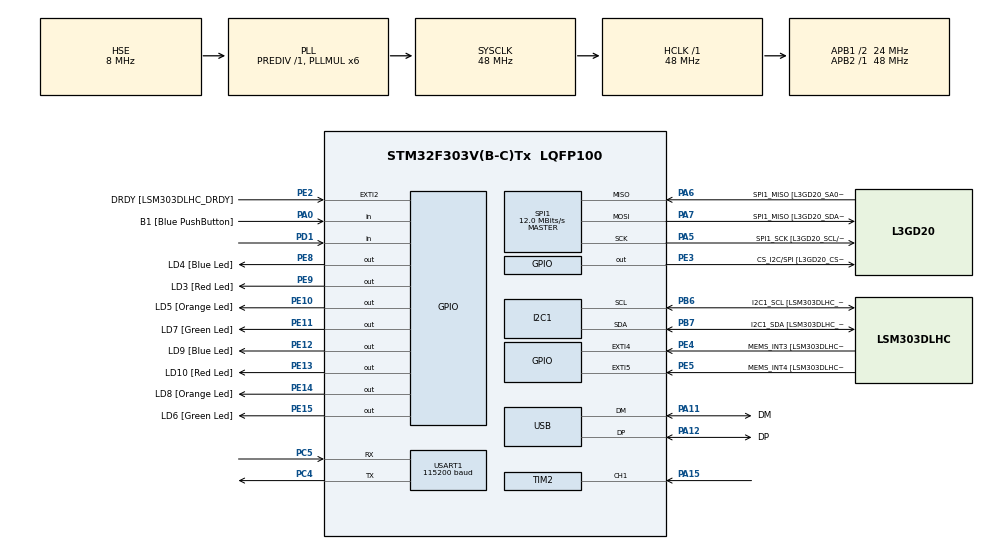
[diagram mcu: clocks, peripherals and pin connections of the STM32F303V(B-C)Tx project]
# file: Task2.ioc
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I2C1.Timing=0x00201D2B
I2C1.Timing-I2C=0x2000090E
Mcu.Family=STM32F3
Mcu.Name=STM32F303V(B-C)Tx
Mcu.Package=LQFP100
NVIC.PriorityGroup=NVIC_PRIORITYGROUP_0
NVIC.TIM2_IRQn=true\:0\:0\:false\:false\:true\:true\:true\:true
PA0.GPIO_Label=B1 [Blue PushButton]
PA0.Signal=GPIO_Input
PA11.GPIO_Label=DM
PA11.Mode=Device
PA11.Signal=USB_DM
PA12.GPIO_Label=DP
PA12.Mode=Device
PA12.Signal=USB_DP
PA13.GPIO_Label=SWDIO
PA13.Mode=Serial_Wire
PA13.Signal=SYS_JTMS-SWDIO
PA14.GPIO_Label=SWCLK
PA14.Mode=Serial_Wire
PA14.Signal=SYS_JTCK-SWCLK
PA15.Signal=S_TIM2_CH1_ETR
PA5.GPIO_Label=SPI1_SCK [L3GD20_SCL/SPC]
PA5.Mode=Full_Duplex_Master
PA5.Signal=SPI1_SCK
PA6.GPIO_Label=SPI1_MISO [L3GD20_SA0/SDO]
PA6.Mode=Full_Duplex_Master
PA6.Signal=SPI1_MISO
PA7.GPIO_Label=SPI1_MISO [L3GD20_SDA/SDI/SDO]
PA7.Mode=Full_Duplex_Master
PA7.Signal=SPI1_MOSI
PB3.GPIO_Label=SWO
PB3.Signal=SYS_JTDO-TRACESWO
PB6.GPIO_Label=I2C1_SCL [LSM303DLHC_SCL]
PB6.GPIO_Pu=GPIO_PULLUP
PB6.Mode=I2C
PB6.Signal=I2C1_SCL
PB7.GPIO_Label=I2C1_SDA [LSM303DLHC_SDA]
PB7.GPIO_Pu=GPIO_PULLUP
PB7.Mode=I2C
PB7.Signal=I2C1_SDA
PC14-OSC32_IN.GPIO_Label=OSC32_IN
PC14-OSC32_IN.Signal=RCC_OSC32_IN
PC15-OSC32_OUT.GPIO_Label=OSC32_OUT
PC15-OSC32_OUT.Signal=RCC_OSC32_OUT
PC4.Mode=Asynchronous
PC4.Signal=USART1_TX
PC5.Mode=Asynchronous
PC5.Signal=USART1_RX
PD1.Signal=GPIO_Input
PE10.GPIO_Label=LD5 [Orange Led]
PE10.Signal=GPIO_Output
PE11.GPIO_Label=LD7 [Green Led]
PE11.Signal=GPIO_Output
PE12.GPIO_Label=LD9 [Blue Led]
PE12.Signal=GPIO_Output
PE13.GPIO_Label=LD10 [Red Led]
PE13.Signal=GPIO_Output
PE14.GPIO_Label=LD8 [Orange Led]
PE14.Signal=GPIO_Output
PE15.GPIO_Label=LD6 [Green Led]
PE15.Signal=GPIO_Output
PE2.GPIO_Label=DRDY [LSM303DLHC_DRDY]
PE2.GPIO_ModeDefaultEXTI=GPIO_MODE_EVT_RISING
PE2.Signal=GPXTI2
PE3.GPIO_Label=CS_I2C/SPI [L3GD20_CS_I2C/SPI]
PE3.Signal=GPIO_Output
PE4.GPIO_Label=MEMS_INT3 [LSM303DLHC_INT1]
PE4.GPIO_ModeDefaultEXTI=GPIO_MODE_EVT_RISING
PE4.Signal=GPXTI4
PE5.GPIO_Label=MEMS_INT4 [LSM303DLHC_INT2]
PE5.GPIO_ModeDefaultEXTI=GPIO_MODE_EVT_RISING
PE5.Signal=GPXTI5
PE8.GPIO_Label=LD4 [Blue Led]
PE8.Signal=GPIO_Output
PE9.GPIO_Label=LD3 [Red Led]
PE9.Signal=GPIO_Output
PF0-OSC_IN.GPIO_Label=OSC_IN
PF0-OSC_IN.Mode=HSE-External-Clock-Source
PF0-OSC_IN.Signal=RCC_OSC_IN
PF1-OSC_OUT.GPIO_Label=OSC_OUT
PF1-OSC_OUT.Signal=RCC_OSC_OUT
ProjectManager.HeapSize=0x200
ProjectManager.StackSize=0x400
ProjectManager.TargetToolchain=CMake
RCC.AHBFreq_Value=48000000
RCC.APB1CLKDivider=RCC_HCLK_DIV2
RCC.APB1Freq_Value=24000000
RCC.APB1TimFreq_Value=48000000
RCC.APB2Freq_Value=48000000
RCC.APB2TimFreq_Value=48000000
RCC.CortexFreq_Value=48000000
RCC.HCLKFreq_Value=48000000
RCC.HSE_VALUE=8000000
RCC.HSI_VALUE=8000000
RCC.LSE_VALUE=32768
RCC.PLLMUL=RCC_PLL_MUL6
RCC.SYSCLKFreq_VALUE=48000000
RCC.SYSCLKSourceVirtual=RCC_SYSCLKSOURCE_PLLCLK
RCC.USBFreq_Value=48000000
SH.S_TIM2_CH1_ETR.0=TIM2_CH1,Input_Capture1_from_TI1
SPI1.BaudRatePrescaler=SPI_BAUDRATEPRESCALER_4
SPI1.BaudRatePrescaler-Full_Duplex_Master=SPI_BAUDRATEPRESCALER_2
SPI1.CalculateBaudRate=12.0 MBits/s
SPI1.CalculateBaudRate-Full_Duplex_Master=24.0 MBits/s
SPI1.Direction=SPI_DIRECTION_2LINES
SPI1.Mode=SPI_MODE_MASTER
SPI1.Mode-Full_Duplex_Master=SPI_MODE_MASTER
SPI1.VirtualType=VM_MASTER
TIM2.Channel-Input_Capture1_from_TI1=TIM_CHANNEL_1
TIM2.Prescaler=9
USART1.BaudRate=115200
USART1.VirtualMode-Asynchronous=VM_ASYNC
VP_TIM2_VS_ClockSourceINT.Mode=Internal
board=STM32F3DISCOVERY

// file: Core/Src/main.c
/* USER CODE BEGIN Header */
/**
  ******************************************************************************
  * @file           : main.c
  * @brief          : Main program body
  ******************************************************************************
  * @attention
  *
  * Copyright (c) 2026 STMicroelectronics.
  * All rights reserved.
  *
  * This software is licensed under terms that can be found in the LICENSE file
  * in the root directory of this software component.
  * If no LICENSE file comes with this software, it is provided AS-IS.
  *
  ******************************************************************************
  */
/* USER CODE END Header */
#include "main.h"
#include <stdio.h>
#include <string.h>
#include <stdint.h>

I2C_HandleTypeDef hi2c1;

SPI_HandleTypeDef hspi1;

TIM_HandleTypeDef htim2;

UART_HandleTypeDef huart1;

PCD_HandleTypeDef hpcd_USB_FS;
float frequency = 0;
/* USER CODE BEGIN PV */
int __io_putchar(int ch)
{
    HAL_UART_Transmit(&huart1, (uint8_t *)&ch, 1, HAL_MAX_DELAY);
    return ch;
}
/* USER CODE END PV */

void SystemClock_Config(void);
static void MX_GPIO_Init(void);
static void MX_I2C1_Init(void);
static void MX_SPI1_Init(void);
static void MX_TIM2_Init(void);
static void MX_USART1_UART_Init(void);
static void MX_USB_PCD_Init(void);
/* USER CODE BEGIN PFP */
uint32_t ic_val1 = 0;
uint32_t ic_val2 = 0;
uint32_t diff = 0;
uint8_t is_first = 0;

void HAL_TIM_IC_CaptureCallback(TIM_HandleTypeDef *htim)
{
    if (htim->Channel == HAL_TIM_ACTIVE_CHANNEL_1)
    {
        if (is_first == 0)
        {
            ic_val1 = HAL_TIM_ReadCapturedValue(htim, TIM_CHANNEL_1);
            is_first = 1;
        }
        else
        {
            ic_val2 = HAL_TIM_ReadCapturedValue(htim, TIM_CHANNEL_1);

            if (ic_val2 > ic_val1)
                diff = ic_val2 - ic_val1;
            else
                diff = (0xFFFFFFFF - ic_val1) + ic_val2;

            frequency = 666666.67 / diff;

            is_first = 0;
        }
    }
}
/* USER CODE END PFP */

int main(void)
{

  /* MCU Configuration--------------------------------------------------------*/

  /* Reset of all peripherals, Initializes the Flash interface and the Systick. */
  HAL_Init();

  /* Configure the system clock */
  SystemClock_Config();

  /* Initialize all configured peripherals */
  MX_GPIO_Init();
  MX_I2C1_Init();
  MX_SPI1_Init();
  MX_TIM2_Init();
  MX_USART1_UART_Init();
  MX_USB_PCD_Init();
  /* USER CODE BEGIN 2 */
  HAL_TIM_IC_Start_IT(&htim2, TIM_CHANNEL_1);
  /* USER CODE END 2 */

  /* Infinite loop */
  while (1)
  {
    printf("Frequency: %.2f Hz\r\n", frequency);
    HAL_Delay(500);
  }
}

void SystemClock_Config(void)
{
  RCC_OscInitTypeDef RCC_OscInitStruct = {0};
  RCC_ClkInitTypeDef RCC_ClkInitStruct = {0};
  RCC_PeriphCLKInitTypeDef PeriphClkInit = {0};

  /** Initializes the RCC Oscillators according to the specified parameters
  * in the RCC_OscInitTypeDef structure.
  */
  RCC_OscInitStruct.OscillatorType = RCC_OSCILLATORTYPE_HSI|RCC_OSCILLATORTYPE_HSE;
  RCC_OscInitStruct.HSEState = RCC_HSE_BYPASS;
  RCC_OscInitStruct.HSEPredivValue = RCC_HSE_PREDIV_DIV1;
  RCC_OscInitStruct.HSIState = RCC_HSI_ON;
  RCC_OscInitStruct.HSICalibrationValue = RCC_HSICALIBRATION_DEFAULT;
  RCC_OscInitStruct.PLL.PLLState = RCC_PLL_ON;
  RCC_OscInitStruct.PLL.PLLSource = RCC_PLLSOURCE_HSE;
  RCC_OscInitStruct.PLL.PLLMUL = RCC_PLL_MUL6;
  if (HAL_RCC_OscConfig(&RCC_OscInitStruct) != HAL_OK)
  {
    Error_Handler();
  }

  /** Initializes the CPU, AHB and APB buses clocks
  */
  RCC_ClkInitStruct.ClockType = RCC_CLOCKTYPE_HCLK|RCC_CLOCKTYPE_SYSCLK
                              |RCC_CLOCKTYPE_PCLK1|RCC_CLOCKTYPE_PCLK2;
  RCC_ClkInitStruct.SYSCLKSource = RCC_SYSCLKSOURCE_PLLCLK;
  RCC_ClkInitStruct.AHBCLKDivider = RCC_SYSCLK_DIV1;
  RCC_ClkInitStruct.APB1CLKDivider = RCC_HCLK_DIV2;
  RCC_ClkInitStruct.APB2CLKDivider = RCC_HCLK_DIV1;

  if (HAL_RCC_ClockConfig(&RCC_ClkInitStruct, FLASH_LATENCY_1) != HAL_OK)
  {
    Error_Handler();
  }
  PeriphClkInit.PeriphClockSelection = RCC_PERIPHCLK_USB|RCC_PERIPHCLK_USART1
                              |RCC_PERIPHCLK_I2C1;
  PeriphClkInit.Usart1ClockSelection = RCC_USART1CLKSOURCE_PCLK2;
  PeriphClkInit.I2c1ClockSelection = RCC_I2C1CLKSOURCE_HSI;
  PeriphClkInit.USBClockSelection = RCC_USBCLKSOURCE_PLL;
  if (HAL_RCCEx_PeriphCLKConfig(&PeriphClkInit) != HAL_OK)
  {
    Error_Handler();
  }
}

static void MX_I2C1_Init(void)
{

  hi2c1.Instance = I2C1;
  hi2c1.Init.Timing = 0x00201D2B;
  hi2c1.Init.OwnAddress1 = 0;
  hi2c1.Init.AddressingMode = I2C_ADDRESSINGMODE_7BIT;
  hi2c1.Init.DualAddressMode = I2C_DUALADDRESS_DISABLE;
  hi2c1.Init.OwnAddress2 = 0;
  hi2c1.Init.OwnAddress2Masks = I2C_OA2_NOMASK;
  hi2c1.Init.GeneralCallMode = I2C_GENERALCALL_DISABLE;
  hi2c1.Init.NoStretchMode = I2C_NOSTRETCH_DISABLE;
  if (HAL_I2C_Init(&hi2c1) != HAL_OK)
  {
    Error_Handler();
  }

  /** Configure Analogue filter
  */
  if (HAL_I2CEx_ConfigAnalogFilter(&hi2c1, I2C_ANALOGFILTER_ENABLE) != HAL_OK)
  {
    Error_Handler();
  }

  /** Configure Digital filter
  */
  if (HAL_I2CEx_ConfigDigitalFilter(&hi2c1, 0) != HAL_OK)
  {
    Error_Handler();
  }

}

static void MX_SPI1_Init(void)
{

  /* SPI1 parameter configuration*/
  hspi1.Instance = SPI1;
  hspi1.Init.Mode = SPI_MODE_MASTER;
  hspi1.Init.Direction = SPI_DIRECTION_2LINES;
  hspi1.Init.DataSize = SPI_DATASIZE_4BIT;
  hspi1.Init.CLKPolarity = SPI_POLARITY_LOW;
  hspi1.Init.CLKPhase = SPI_PHASE_1EDGE;
  hspi1.Init.NSS = SPI_NSS_SOFT;
  hspi1.Init.BaudRatePrescaler = SPI_BAUDRATEPRESCALER_4;
  hspi1.Init.FirstBit = SPI_FIRSTBIT_MSB;
  hspi1.Init.TIMode = SPI_TIMODE_DISABLE;
  hspi1.Init.CRCCalculation = SPI_CRCCALCULATION_DISABLE;
  hspi1.Init.CRCPolynomial = 7;
  hspi1.Init.CRCLength = SPI_CRC_LENGTH_DATASIZE;
  hspi1.Init.NSSPMode = SPI_NSS_PULSE_ENABLE;
  if (HAL_SPI_Init(&hspi1) != HAL_OK)
  {
    Error_Handler();
  }

}

static void MX_TIM2_Init(void)
{

  TIM_ClockConfigTypeDef sClockSourceConfig = {0};
  TIM_MasterConfigTypeDef sMasterConfig = {0};
  TIM_IC_InitTypeDef sConfigIC = {0};

  htim2.Instance = TIM2;
  htim2.Init.Prescaler = 71;
  htim2.Init.CounterMode = TIM_COUNTERMODE_UP;
  htim2.Init.Period = 4294967295;
  htim2.Init.ClockDivision = TIM_CLOCKDIVISION_DIV1;
  htim2.Init.AutoReloadPreload = TIM_AUTORELOAD_PRELOAD_DISABLE;
  if (HAL_TIM_Base_Init(&htim2) != HAL_OK)
  {
    Error_Handler();
  }
  sClockSourceConfig.ClockSource = TIM_CLOCKSOURCE_INTERNAL;
  if (HAL_TIM_ConfigClockSource(&htim2, &sClockSourceConfig) != HAL_OK)
  {
    Error_Handler();
  }
  if (HAL_TIM_IC_Init(&htim2) != HAL_OK)
  {
    Error_Handler();
  }
  sMasterConfig.MasterOutputTrigger = TIM_TRGO_RESET;
  sMasterConfig.MasterSlaveMode = TIM_MASTERSLAVEMODE_DISABLE;
  if (HAL_TIMEx_MasterConfigSynchronization(&htim2, &sMasterConfig) != HAL_OK)
  {
    Error_Handler();
  }
  sConfigIC.ICPolarity = TIM_INPUTCHANNELPOLARITY_RISING;
  sConfigIC.ICSelection = TIM_ICSELECTION_DIRECTTI;
  sConfigIC.ICPrescaler = TIM_ICPSC_DIV1;
  sConfigIC.ICFilter = 0;
  if (HAL_TIM_IC_ConfigChannel(&htim2, &sConfigIC, TIM_CHANNEL_1) != HAL_OK)
  {
    Error_Handler();
  }

}

static void MX_USART1_UART_Init(void)
{

  huart1.Instance = USART1;
  huart1.Init.BaudRate = 115200;
  huart1.Init.WordLength = UART_WORDLENGTH_8B;
  huart1.Init.StopBits = UART_STOPBITS_1;
  huart1.Init.Parity = UART_PARITY_NONE;
  huart1.Init.Mode = UART_MODE_TX_RX;
  huart1.Init.HwFlowCtl = UART_HWCONTROL_NONE;
  huart1.Init.OverSampling = UART_OVERSAMPLING_16;
  huart1.Init.OneBitSampling = UART_ONE_BIT_SAMPLE_DISABLE;
  huart1.AdvancedInit.AdvFeatureInit = UART_ADVFEATURE_NO_INIT;
  if (HAL_UART_Init(&huart1) != HAL_OK)
  {
    Error_Handler();
  }

}

static void MX_USB_PCD_Init(void)
{

  hpcd_USB_FS.Instance = USB;
  hpcd_USB_FS.Init.dev_endpoints = 8;
  hpcd_USB_FS.Init.speed = PCD_SPEED_FULL;
  hpcd_USB_FS.Init.phy_itface = PCD_PHY_EMBEDDED;
  hpcd_USB_FS.Init.low_power_enable = DISABLE;
  hpcd_USB_FS.Init.battery_charging_enable = DISABLE;
  if (HAL_PCD_Init(&hpcd_USB_FS) != HAL_OK)
  {
    Error_Handler();
  }

}

static void MX_GPIO_Init(void)
{
  GPIO_InitTypeDef GPIO_InitStruct = {0};

  /* GPIO Ports Clock Enable */
  __HAL_RCC_GPIOE_CLK_ENABLE();
  __HAL_RCC_GPIOC_CLK_ENABLE();
  __HAL_RCC_GPIOF_CLK_ENABLE();
  __HAL_RCC_GPIOA_CLK_ENABLE();
  __HAL_RCC_GPIOD_CLK_ENABLE();
  __HAL_RCC_GPIOB_CLK_ENABLE();

  /*Configure GPIO pin Output Level */
  HAL_GPIO_WritePin(GPIOE, CS_I2C_SPI_Pin|LD4_Pin|LD3_Pin|LD5_Pin
                          |LD7_Pin|LD9_Pin|LD10_Pin|LD8_Pin
                          |LD6_Pin, GPIO_PIN_RESET);

  /*Configure GPIO pins : DRDY_Pin MEMS_INT3_Pin MEMS_INT4_Pin */
  GPIO_InitStruct.Pin = DRDY_Pin|MEMS_INT3_Pin|MEMS_INT4_Pin;
  GPIO_InitStruct.Mode = GPIO_MODE_EVT_RISING;
  GPIO_InitStruct.Pull = GPIO_NOPULL;
  HAL_GPIO_Init(GPIOE, &GPIO_InitStruct);

  /*Configure GPIO pins : CS_I2C_SPI_Pin LD4_Pin LD3_Pin LD5_Pin
                           LD7_Pin LD9_Pin LD10_Pin LD8_Pin
                           LD6_Pin */
  GPIO_InitStruct.Pin = CS_I2C_SPI_Pin|LD4_Pin|LD3_Pin|LD5_Pin
                          |LD7_Pin|LD9_Pin|LD10_Pin|LD8_Pin
                          |LD6_Pin;
  GPIO_InitStruct.Mode = GPIO_MODE_OUTPUT_PP;
  GPIO_InitStruct.Pull = GPIO_NOPULL;
  GPIO_InitStruct.Speed = GPIO_SPEED_FREQ_LOW;
  HAL_GPIO_Init(GPIOE, &GPIO_InitStruct);

  /*Configure GPIO pin : B1_Pin */
  GPIO_InitStruct.Pin = B1_Pin;
  GPIO_InitStruct.Mode = GPIO_MODE_INPUT;
  GPIO_InitStruct.Pull = GPIO_NOPULL;
  HAL_GPIO_Init(B1_GPIO_Port, &GPIO_InitStruct);

  /*Configure GPIO pin : PD1 */
  GPIO_InitStruct.Pin = GPIO_PIN_1;
  GPIO_InitStruct.Mode = GPIO_MODE_INPUT;
  GPIO_InitStruct.Pull = GPIO_NOPULL;
  HAL_GPIO_Init(GPIOD, &GPIO_InitStruct);

}

void Error_Handler(void)
{
  __disable_irq();
  while (1)
  {
  }
}
